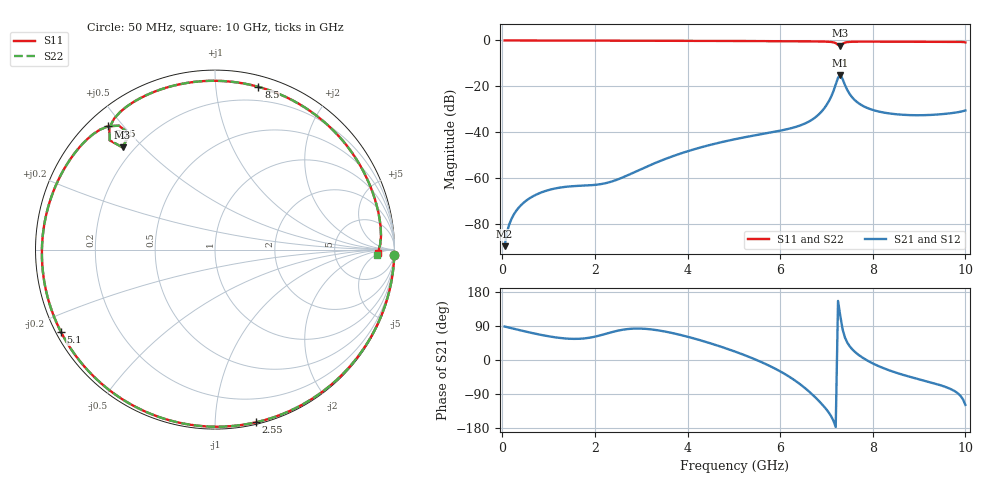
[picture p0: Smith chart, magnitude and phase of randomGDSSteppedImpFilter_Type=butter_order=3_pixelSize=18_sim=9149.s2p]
! freq	dB(S11)	phase(S11)	dB(S12)	phase(S12)
!  dB(S21)	phase(S21)	dB(S22)	phase(S22)
!S-par simulation data
#  GHz  S  DB  R 50
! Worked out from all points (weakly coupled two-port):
!   200 points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, 50 MHz to 10 GHz, reference 50 ohm
!   highest |S21| = -15.07 dB at 7.3 GHz (marker M1); lowest = -89.7 dB at 50 MHz (marker M2)
!   lowest |S11| = -2.3 dB at 7.3 GHz (marker M3), VSWR 7.60, Z = 7.84 + j21.7 ohm
!   |S11| at or under -10 dB: nowhere
!   |S22| runs from -2.3 to 0.0 dB; largest |S21 - S12| = 0
!   S11 on the Smith chart (normalised r, x): 50 MHz: 1, -73; 2.55 GHz: 0.01, -1.27; 5.1 GHz: 0.01, -0.25; 7.15 GHz: 0.06, +0.46; 8.5 GHz: 0.09, +1.30; 10 GHz: 19, -5
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0.05  -0.00 -1.6  -89.73 88.4  -89.73 88.4  -0.00 -1.6
0.15  -0.01 -4.6  -80.24 85.4  -80.24 85.4  -0.01 -4.6
0.35  -0.01 -10.8  -73.03 79.5  -73.03 79.5  -0.01 -10.8
0.7  -0.02 -21.5  -67.57 69.7  -67.57 69.7  -0.02 -21.5
1.75  -0.07 -53.1  -63.32 56.7  -63.32 56.7  -0.07 -53.1
2.55  -0.10 -76.6  -60.17 78.8  -60.17 78.8  -0.10 -76.6
3.4  -0.13 -101.3  -52.64 77.6  -52.64 77.6  -0.13 -101.3
4.2  -0.18 -124.6  -47.14 54.7  -47.14 54.7  -0.18 -124.6
5.05  -0.23 -150.3  -42.97 21.2  -42.97 21.2  -0.23 -150.3
5.1  -0.24 -151.9  -42.76 18.9  -42.76 18.9  -0.24 -151.9
5.95  -0.31 -179.8  -39.55 -26.6  -39.55 -26.6  -0.31 -179.8
6.7  -0.42 152.3  -34.41 -91.6  -34.41 -91.6  -0.42 152.2
6.95  -0.50 141.5  -29.66 -123.2  -29.66 -123.2  -0.50 141.5
7.15  -0.83 130.9  -22.17 -160.0  -22.17 -160.0  -0.83 130.9
7.25  -1.92 126.5  -16.25 155.9  -16.25 155.9  -1.92 126.5
7.3  -2.30 132.2  -15.07 115.3  -15.07 115.3  -2.29 132.1
7.4  -0.93 130.9  -19.47 59.0  -19.47 59.0  -0.93 130.9
7.65  -0.53 116.5  -26.70 17.7  -26.70 17.7  -0.53 116.5
8.35  -0.54 82.4  -31.82 -27.0  -31.82 -27.0  -0.54 82.4
8.5  -0.55 75.0  -32.18 -33.3  -32.18 -33.3  -0.55 75.0
9.35  -0.58 32.9  -32.37 -62.5  -32.37 -62.5  -0.58 32.8
10  -0.85 -1.3  -30.54 -118.5  -30.54 -118.5  -0.90 -1.8
